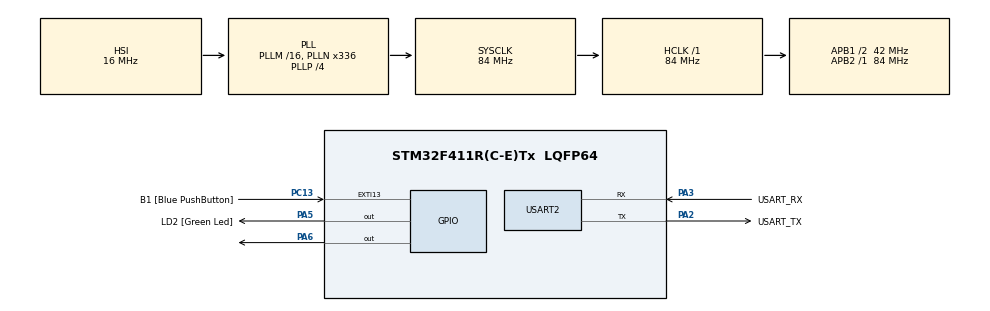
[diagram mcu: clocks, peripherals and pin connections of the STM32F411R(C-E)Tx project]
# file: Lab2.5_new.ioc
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Mcu.Family=STM32F4
Mcu.Name=STM32F411R(C-E)Tx
Mcu.Package=LQFP64
NVIC.PriorityGroup=NVIC_PRIORITYGROUP_0
PA13.GPIO_Label=TMS
PA13.Mode=Serial_Wire
PA13.Signal=SYS_JTMS-SWDIO
PA14.GPIO_Label=TCK
PA14.Mode=Serial_Wire
PA14.Signal=SYS_JTCK-SWCLK
PA2.GPIO_Label=USART_TX
PA2.Mode=Asynchronous
PA2.Signal=USART2_TX
PA3.GPIO_Label=USART_RX
PA3.Mode=Asynchronous
PA3.Signal=USART2_RX
PA5.GPIO_Label=LD2 [Green Led]
PA5.Signal=GPIO_Output
PA6.Signal=GPIO_Output
PB3.GPIO_Label=SWO
PB3.Signal=SYS_JTDO-SWO
PC13-ANTI_TAMP.GPIO_Label=B1 [Blue PushButton]
PC13-ANTI_TAMP.GPIO_ModeDefaultEXTI=GPIO_MODE_IT_FALLING
PC13-ANTI_TAMP.Signal=GPXTI13
PC14-OSC32_IN.Mode=LSE-External-Oscillator
PC14-OSC32_IN.Signal=RCC_OSC32_IN
PC15-OSC32_OUT.Mode=LSE-External-Oscillator
PC15-OSC32_OUT.Signal=RCC_OSC32_OUT
PH0\ -\ OSC_IN.Mode=HSE-External-Clock-Source
PH0\ -\ OSC_IN.Signal=RCC_OSC_IN
PH1\ -\ OSC_OUT.Mode=HSE-External-Clock-Source
PH1\ -\ OSC_OUT.Signal=RCC_OSC_OUT
ProjectManager.HeapSize=0x200
ProjectManager.StackSize=0x400
ProjectManager.TargetToolchain=STM32CubeIDE
RCC.48MHZClocksFreq_Value=84000000
RCC.AHBFreq_Value=84000000
RCC.APB1CLKDivider=RCC_HCLK_DIV2
RCC.APB1Freq_Value=42000000
RCC.APB1TimFreq_Value=84000000
RCC.APB2Freq_Value=84000000
RCC.APB2TimFreq_Value=84000000
RCC.CortexFreq_Value=84000000
RCC.FLatency-AdvancedSettings=FLASH_LATENCY_2
RCC.HCLKFreq_Value=84000000
RCC.HSE_VALUE=8000000
RCC.HSI_VALUE=16000000
RCC.PLLN=336
RCC.PLLP=RCC_PLLP_DIV4
RCC.SYSCLKFreq_VALUE=84000000
RCC.SYSCLKSource=RCC_SYSCLKSOURCE_PLLCLK
RCC.VCOOutputFreq_Value=336000000
USART2.VirtualMode=VM_ASYNC
board=NUCLEO-F411RE

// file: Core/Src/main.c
/* USER CODE BEGIN Header */
/**
  ******************************************************************************
  * @file           : main.c
  * @brief          : Main program body
  ******************************************************************************
  * @attention
  *
  * Copyright (c) 2024 STMicroelectronics.
  * All rights reserved.
  *
  * This software is licensed under terms that can be found in the LICENSE file
  * in the root directory of this software component.
  * If no LICENSE file comes with this software, it is provided AS-IS.
  *
  ******************************************************************************
  */
/* USER CODE END Header */
#include "main.h"

/* USER CODE BEGIN Includes */
#include<string.h>
/* USER CODE END Includes */

UART_HandleTypeDef huart2;

void SystemClock_Config(void);
static void MX_GPIO_Init(void);
static void MX_USART2_UART_Init(void);

/* USER CODE BEGIN 0 */
void uartPrint(const char* msg) {
	HAL_UART_Transmit(&huart2, msg, strlen(msg), 100);
}

void uartPrintln(const char* msg) {
	uartPrint(msg);
	uartPrint("\r\n");
}
/* USER CODE END 0 */

int main(void)
{

  /* MCU Configuration--------------------------------------------------------*/

  /* Reset of all peripherals, Initializes the Flash interface and the Systick. */
  HAL_Init();

  /* Configure the system clock */
  SystemClock_Config();

  /* Initialize all configured peripherals */
  MX_GPIO_Init();
  MX_USART2_UART_Init();

  /* Infinite loop */
  /* USER CODE BEGIN WHILE */
  uint8_t uartInput[10];
  char line[100];
  int length = 0;
  while (1)
  {
	  HAL_StatusTypeDef status = HAL_UART_Receive(&huart2, uartInput, 1, 100);
	  if(status == HAL_OK) {
		  HAL_UART_Transmit(&huart2, uartInput, 1, 100);
		  line[length++] = uartInput[0];

		  if(length > 100) {
			  length = 0;
			  uartPrintln("\r\nLength limit exceeded, overwriting line!");
			  continue;
		  }

		  if(uartInput[0] == '\r') {
			  uartPrint("\n");
			  line[length] = '\0';
			  length = 0;

			  if(!strcmp(line, "on\r")) {
				  HAL_GPIO_WritePin(GPIOA, GPIO_PIN_6, GPIO_PIN_SET);
				  uartPrintln("LED is ON");
			  } else if(!strcmp(line, "off\r")) {
				  HAL_GPIO_WritePin(GPIOA, GPIO_PIN_6, GPIO_PIN_RESET);
				  uartPrintln("LED is OFF");
			  } else {
				  uartPrintln("Command not found");
			  }
		  }
	  }
    /* USER CODE END WHILE */

  }
}

void SystemClock_Config(void)
{
  RCC_OscInitTypeDef RCC_OscInitStruct = {0};
  RCC_ClkInitTypeDef RCC_ClkInitStruct = {0};

  /** Configure the main internal regulator output voltage
  */
  __HAL_RCC_PWR_CLK_ENABLE();
  __HAL_PWR_VOLTAGESCALING_CONFIG(PWR_REGULATOR_VOLTAGE_SCALE1);

  /** Initializes the RCC Oscillators according to the specified parameters
  * in the RCC_OscInitTypeDef structure.
  */
  RCC_OscInitStruct.OscillatorType = RCC_OSCILLATORTYPE_HSI;
  RCC_OscInitStruct.HSIState = RCC_HSI_ON;
  RCC_OscInitStruct.HSICalibrationValue = RCC_HSICALIBRATION_DEFAULT;
  RCC_OscInitStruct.PLL.PLLState = RCC_PLL_ON;
  RCC_OscInitStruct.PLL.PLLSource = RCC_PLLSOURCE_HSI;
  RCC_OscInitStruct.PLL.PLLM = 16;
  RCC_OscInitStruct.PLL.PLLN = 336;
  RCC_OscInitStruct.PLL.PLLP = RCC_PLLP_DIV4;
  RCC_OscInitStruct.PLL.PLLQ = 4;
  if (HAL_RCC_OscConfig(&RCC_OscInitStruct) != HAL_OK)
  {
    Error_Handler();
  }

  /** Initializes the CPU, AHB and APB buses clocks
  */
  RCC_ClkInitStruct.ClockType = RCC_CLOCKTYPE_HCLK|RCC_CLOCKTYPE_SYSCLK
                              |RCC_CLOCKTYPE_PCLK1|RCC_CLOCKTYPE_PCLK2;
  RCC_ClkInitStruct.SYSCLKSource = RCC_SYSCLKSOURCE_PLLCLK;
  RCC_ClkInitStruct.AHBCLKDivider = RCC_SYSCLK_DIV1;
  RCC_ClkInitStruct.APB1CLKDivider = RCC_HCLK_DIV2;
  RCC_ClkInitStruct.APB2CLKDivider = RCC_HCLK_DIV1;

  if (HAL_RCC_ClockConfig(&RCC_ClkInitStruct, FLASH_LATENCY_2) != HAL_OK)
  {
    Error_Handler();
  }
}

static void MX_USART2_UART_Init(void)
{

  huart2.Instance = USART2;
  huart2.Init.BaudRate = 115200;
  huart2.Init.WordLength = UART_WORDLENGTH_8B;
  huart2.Init.StopBits = UART_STOPBITS_1;
  huart2.Init.Parity = UART_PARITY_NONE;
  huart2.Init.Mode = UART_MODE_TX_RX;
  huart2.Init.HwFlowCtl = UART_HWCONTROL_NONE;
  huart2.Init.OverSampling = UART_OVERSAMPLING_16;
  if (HAL_UART_Init(&huart2) != HAL_OK)
  {
    Error_Handler();
  }

}

static void MX_GPIO_Init(void)
{
  GPIO_InitTypeDef GPIO_InitStruct = {0};

  /* GPIO Ports Clock Enable */
  __HAL_RCC_GPIOC_CLK_ENABLE();
  __HAL_RCC_GPIOH_CLK_ENABLE();
  __HAL_RCC_GPIOA_CLK_ENABLE();
  __HAL_RCC_GPIOB_CLK_ENABLE();

  /*Configure GPIO pin Output Level */
  HAL_GPIO_WritePin(GPIOA, LD2_Pin|GPIO_PIN_6, GPIO_PIN_RESET);

  /*Configure GPIO pin : B1_Pin */
  GPIO_InitStruct.Pin = B1_Pin;
  GPIO_InitStruct.Mode = GPIO_MODE_IT_FALLING;
  GPIO_InitStruct.Pull = GPIO_NOPULL;
  HAL_GPIO_Init(B1_GPIO_Port, &GPIO_InitStruct);

  /*Configure GPIO pins : LD2_Pin PA6 */
  GPIO_InitStruct.Pin = LD2_Pin|GPIO_PIN_6;
  GPIO_InitStruct.Mode = GPIO_MODE_OUTPUT_PP;
  GPIO_InitStruct.Pull = GPIO_NOPULL;
  GPIO_InitStruct.Speed = GPIO_SPEED_FREQ_LOW;
  HAL_GPIO_Init(GPIOA, &GPIO_InitStruct);

}

void Error_Handler(void)
{
  __disable_irq();
  while (1)
  {
  }
}
